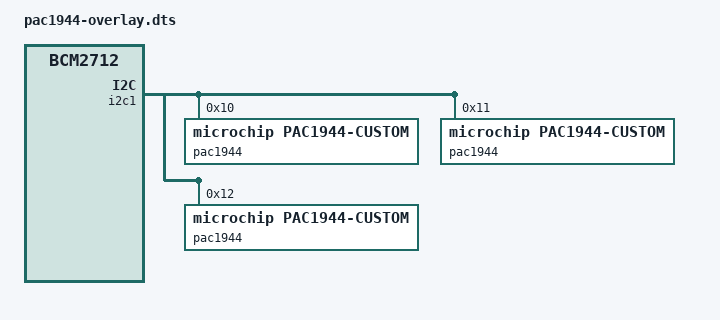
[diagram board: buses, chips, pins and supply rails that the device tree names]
/dts-v1/;
/plugin/;

/ {
    compatible = "brcm,bcm2712";

    fragment@0 {
        target = <&i2c1>;

        __overlay__ {
            status = "okay";

            pac1944@10 {
                compatible = "microchip,pac1944-custom";
                reg = <0x10>;
                microchip,channel = <1>;
                shunt-resistor-micro-ohms = <10000>;
                status = "okay";
            };

            pac1944@11 {
                compatible = "microchip,pac1944-custom";
                reg = <0x11>;
                microchip,channel = <1>;
                shunt-resistor-micro-ohms = <10000>;
                status = "okay";
            };

            pac1944@12 {
                compatible = "microchip,pac1944-custom";
                reg = <0x12>;
                microchip,channel = <3>;
                shunt-resistor-micro-ohms = <10000>;
                status = "okay";
            };
        };
    };
};
